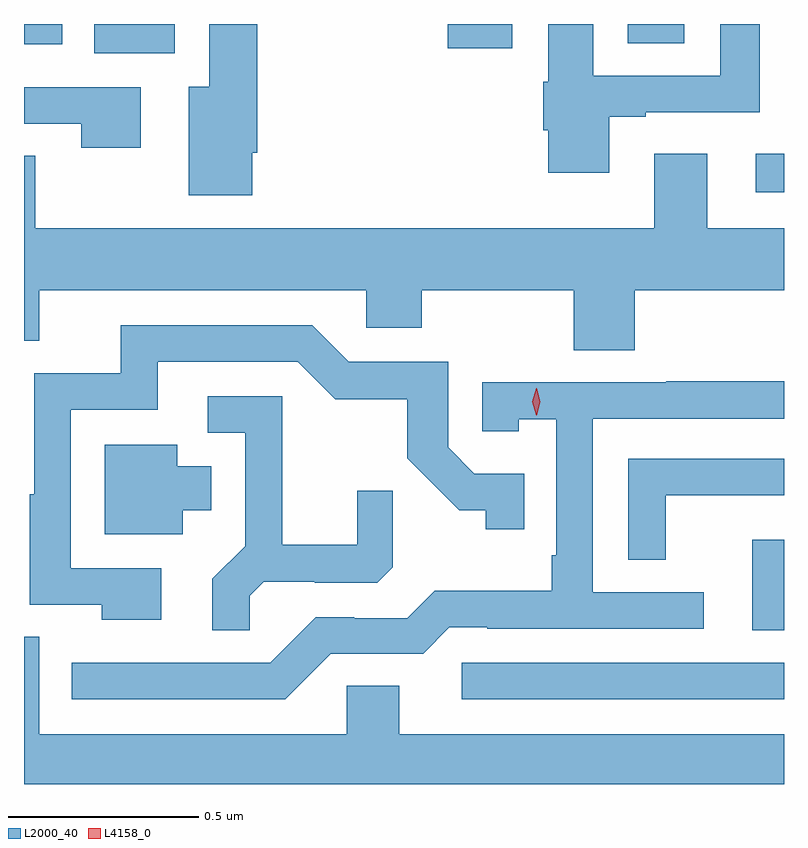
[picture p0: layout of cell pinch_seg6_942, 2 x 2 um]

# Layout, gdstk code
import gdstk
lib = gdstk.Library(unit=1e-6, precision=1e-09)
def R(c, l, rs):  # rectangles x0, y0, x1, y1
    for r in rs: c.add(gdstk.rectangle(r[:2], r[2:], *l))
def P(c, l, *ps):  # polygons
    for p in ps: c.add(gdstk.Polygon(p, *l))
L2000_40 = (2000, 40)
L4158_0 = (4158, 0)

pinch_seg6_942 = lib.new_cell('pinch_seg6_942')
R(pinch_seg6_942, L2000_40, [(180.243,954.252,181.091,954.348), (181.007,954.433,181.091,954.672), (181.017,955.586,181.091,955.687), (179.276,955.952,179.488,956.029), (180.206,955.965,180.376,956.029), (179.091,955.976,179.191,956.029), (180.68,955.978,180.829,956.029)])
P(pinch_seg6_942, L2000_40, [(179.692,955.69),(179.705,955.69),(179.705,956.029),(179.579,956.029),(179.579,955.864),(179.525,955.864),(179.525,955.578),(179.692,955.578)],
  [(180.631,955.785),(180.727,955.785),(180.727,955.797),(181.027,955.797),(181.027,956.029),(180.923,956.029),(180.923,955.893),(180.589,955.893),(180.589,956.029),(180.47,956.029),(180.47,955.877),(180.458,955.877),(180.458,955.75),(180.47,955.75),(180.47,955.638),(180.631,955.638)],
  [(179.398,955.863),(179.091,955.863),(179.091,955.767),(179.242,955.767),(179.242,955.704),(179.398,955.704)],
  [(180.698,955.328),(181.091,955.328),(181.091,955.492),(180.889,955.492),(180.889,955.687),(180.749,955.687),(180.749,955.492),(179.121,955.492),(179.121,955.682),(179.091,955.682),(179.091,955.195),(179.131,955.195),(179.131,955.328),(179.991,955.328),(179.991,955.23),(180.138,955.23),(180.138,955.328),(180.538,955.328),(180.538,955.171),(180.698,955.171)],
  [(179.452,954.597),(179.214,954.597),(179.214,955.014),(179.443,955.014),(179.443,955.14),(179.811,955.14),(179.91,955.042),(180.099,955.042),(180.099,954.886),(180.236,954.749),(180.306,954.749),(180.306,954.699),(180.407,954.699),(180.407,954.846),(180.276,954.846),(180.207,954.915),(180.207,955.14),(179.946,955.14),(179.85,955.236),(179.345,955.236),(179.345,955.11),(179.118,955.11),(179.118,954.791),(179.106,954.791),(179.106,954.501),(179.296,954.501),(179.296,954.461),(179.452,954.461)],
  [(179.898,954.372),(180.141,954.372),(180.21,954.441),(180.31,954.441),(180.31,954.438),(180.88,954.438),(180.88,954.534),(180.588,954.534),(180.588,954.99),(181.091,954.99),(181.091,955.089),(180.781,955.089),(180.781,955.086),(180.297,955.086),(180.297,954.957),(180.393,954.957),(180.393,954.989),(180.492,954.989),(180.492,954.631),(180.48,954.631),(180.48,954.538),(180.172,954.538),(180.099,954.465),(179.96,954.465),(179.96,954.468),(179.859,954.468),(179.739,954.348),(179.216,954.348),(179.216,954.252),(179.778,954.252)],
  [(179.685,954.524),(179.722,954.561),(179.856,954.561),(179.856,954.558),(180.021,954.558),(180.062,954.599),(180.062,954.801),(179.968,954.801),(179.968,954.658),(179.771,954.658),(179.771,955.05),(179.574,955.05),(179.574,954.954),(179.673,954.954),(179.673,954.655),(179.587,954.569),(179.587,954.433),(179.685,954.433)],
  [(179.509,954.749),(179.584,954.749),(179.584,954.865),(179.494,954.865),(179.494,954.922),(179.303,954.922),(179.303,954.686),(179.509,954.686)],
  [(180.78,954.789),(181.091,954.789),(181.091,954.885),(180.681,954.885),(180.681,954.619),(180.78,954.619)],
  [(181.091,954.16),(180.079,954.16),(180.079,954.287),(179.94,954.287),(179.94,954.16),(179.131,954.16),(179.131,954.416),(179.091,954.416),(179.091,954.029),(181.091,954.029)])
P(pinch_seg6_942, L4158_0, [(180.439,954.999),(180.439,954.999),(180.429,955.035),(180.439,955.071),(180.439,955.071),(180.44,955.071),(180.449,955.035),(180.44,954.999)])

lib.write_gds('pinch_seg6_942.gds')
